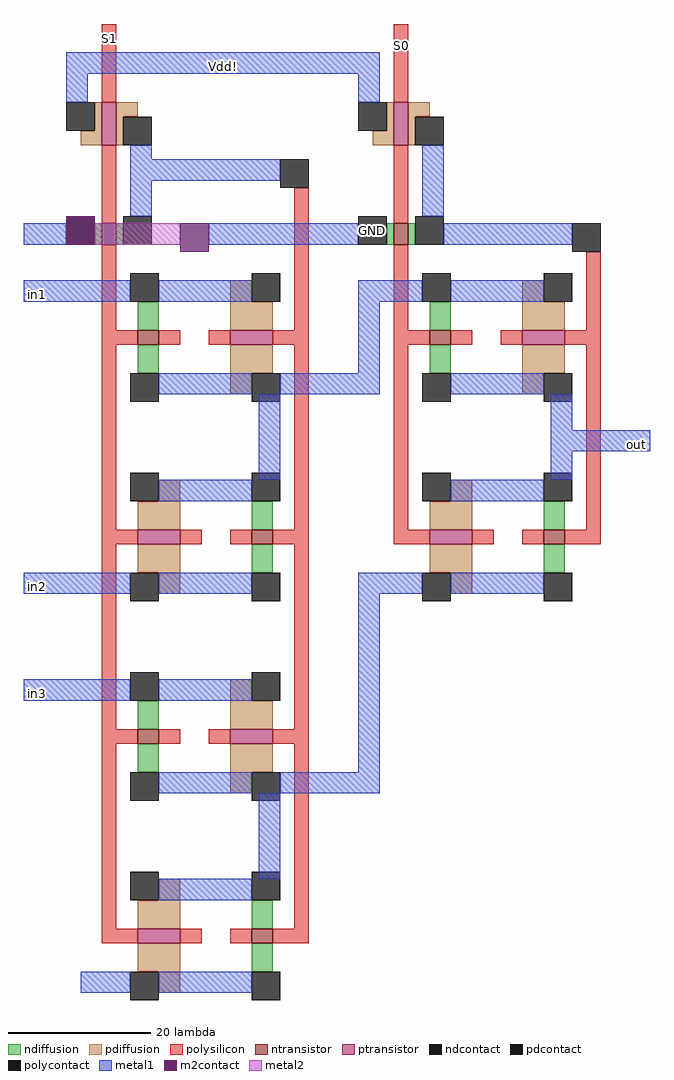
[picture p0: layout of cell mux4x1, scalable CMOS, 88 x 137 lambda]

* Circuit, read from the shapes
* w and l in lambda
.subckt mux4x1 GND S0 S1 Vdd! in1 in2 in3 out
M1 mux2x1_0/Smb S1 GND VSUBS nfet w=3 l=2
M2 in3 S1 mux2x1_2/Min2 VSUBS nfet w=3 l=2
M3 in1 S1 mux2x1_2/Min1 VSUBS nfet w=3 l=2
M4 mux2x1_2/Min2 mux2x1_0/Smb mux2x1_1/Min2 VSUBS nfet w=3 l=2
M5 mux2x1_2/Min1 mux2x1_0/Smb in2 VSUBS nfet w=3 l=2
M6 mux2x1_2/Smb S0 GND VSUBS nfet w=3 l=2
M7 mux2x1_2/Min1 S0 out VSUBS nfet w=3 l=2
M8 out mux2x1_2/Smb mux2x1_2/Min2 VSUBS nfet w=3 l=2
M9 mux2x1_0/Smb S1 Vdd! NWELL pfet w=6 l=2
M10 mux2x1_2/Min2 S1 mux2x1_1/Min2 NWELL pfet w=6 l=2
M11 mux2x1_2/Min1 S1 in2 NWELL pfet w=6 l=2
M12 in3 mux2x1_0/Smb mux2x1_2/Min2 NWELL pfet w=6 l=2
M13 in1 mux2x1_0/Smb mux2x1_2/Min1 NWELL pfet w=6 l=2
M14 mux2x1_2/Smb S0 Vdd! NWELL pfet w=6 l=2
M15 out S0 mux2x1_2/Min2 NWELL pfet w=6 l=2
M16 mux2x1_2/Min1 mux2x1_2/Smb out NWELL pfet w=6 l=2
.ends

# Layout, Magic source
magic
tech scmos
<< polysilicon >>
rect 3 72 5 81
rect 44 72 46 81
rect 3 38 5 47
rect 30 38 32 58
rect 44 38 46 47
rect 71 38 73 49
rect 3 -18 5 8
rect 30 -18 32 8
<< metal1 >>
rect -2 74 42 77
rect -2 70 1 74
rect 39 70 42 74
rect 10 59 28 62
rect -8 50 -2 53
rect 18 50 39 53
rect 51 50 69 53
rect -8 42 0 45
rect 39 32 42 45
rect 28 29 42 32
rect 69 21 80 24
rect -8 1 0 4
rect -8 -14 0 -11
rect 39 -24 42 4
rect 28 -27 42 -24
<< metal2 >>
rect 2 50 14 53
<< polycontact >>
rect 28 58 32 62
rect 69 49 73 53
<< ndcontact >>
rect 39 50 43 54
<< m2contact >>
rect -2 50 2 54
rect 14 49 18 53
use inverter inverter_0
transform 1 0 3 0 1 57
box -5 -10 7 15
use inverter inverter_1
transform 1 0 44 0 1 57
box -5 -10 7 15
use mux2x1 mux2x1_0
transform 1 0 8 0 1 -5
box -8 5 24 51
use mux2x1 mux2x1_2
transform 1 0 49 0 1 -5
box -8 5 24 51
use mux2x1 mux2x1_1
transform 1 0 8 0 1 -61
box -8 5 24 51
<< labels >>
rlabel metal1 20 75 20 75 1 Vdd!
rlabel polysilicon 4 79 4 79 5 S1
rlabel metal1 -6 43 -6 43 3 in1
rlabel metal1 -6 2 -6 2 3 in2
rlabel metal1 -6 -13 -6 -13 3 in3
rlabel polysilicon 45 78 45 78 5 S0
rlabel metal1 78 22 78 22 7 out
rlabel ndcontact 41 52 41 52 1 GND
<< end >>

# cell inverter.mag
magic
tech scmos
<< polysilicon >>
rect 0 13 2 15
rect 0 -4 2 7
rect 0 -10 2 -7
<< ndiffusion >>
rect -1 -7 0 -4
rect 2 -7 3 -4
<< pdiffusion >>
rect -1 9 0 13
rect -3 7 0 9
rect 2 11 5 13
rect 2 7 3 11
<< metal1 >>
rect 4 -3 7 7
<< ntransistor >>
rect 0 -7 2 -4
<< ptransistor >>
rect 0 7 2 13
<< ndcontact >>
rect -5 -7 -1 -3
rect 3 -7 7 -3
<< pdcontact >>
rect -5 9 -1 13
rect 3 7 7 11
<< labels >>
rlabel pdcontact -3 11 -3 11 1 Vdd
rlabel ndcontact -3 -5 -3 -5 1 GND
rlabel polysilicon 1 0 1 0 1 in
rlabel metal1 5 1 5 1 7 out
<< end >>

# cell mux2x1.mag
magic
tech scmos
<< polysilicon >>
rect -5 13 -3 43
rect 22 13 24 43
<< metal1 >>
rect -8 47 -1 50
rect 17 22 20 34
rect -8 6 -1 9
use gate gate_1
transform 0 1 2 -1 0 42
box -9 -5 9 20
use gate gate_0
transform 0 -1 17 1 0 14
box -9 -5 9 20
<< labels >>
rlabel polysilicon -4 28 -4 28 3 Sm
rlabel polysilicon 23 28 23 28 7 Smb
rlabel metal1 -6 48 -6 48 4 Min1
rlabel metal1 -6 7 -6 7 2 Min2
rlabel metal1 18 28 18 28 1 Mout
<< end >>

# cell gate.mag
magic
tech scmos
<< polysilicon >>
rect -1 17 1 20
rect -1 8 1 11
rect -1 1 1 4
rect -1 -5 1 -2
<< ndiffusion >>
rect -5 -2 -1 1
rect 1 -2 5 1
<< pdiffusion >>
rect -5 14 -1 17
rect -8 11 -1 14
rect 1 14 5 17
rect 1 11 8 14
<< metal1 >>
rect -8 1 -5 14
rect 5 1 8 14
<< ntransistor >>
rect -1 -2 1 1
<< ptransistor >>
rect -1 11 1 17
<< ndcontact >>
rect -9 -3 -5 1
rect 5 -3 9 1
<< pdcontact >>
rect -9 14 -5 18
rect 5 14 9 18
<< labels >>
rlabel polysilicon 0 19 0 19 5 S
rlabel polysilicon 0 -4 0 -4 1 Sb
rlabel metal1 -7 6 -7 6 3 Gin
rlabel metal1 7 6 7 6 7 Gout
<< end >>
